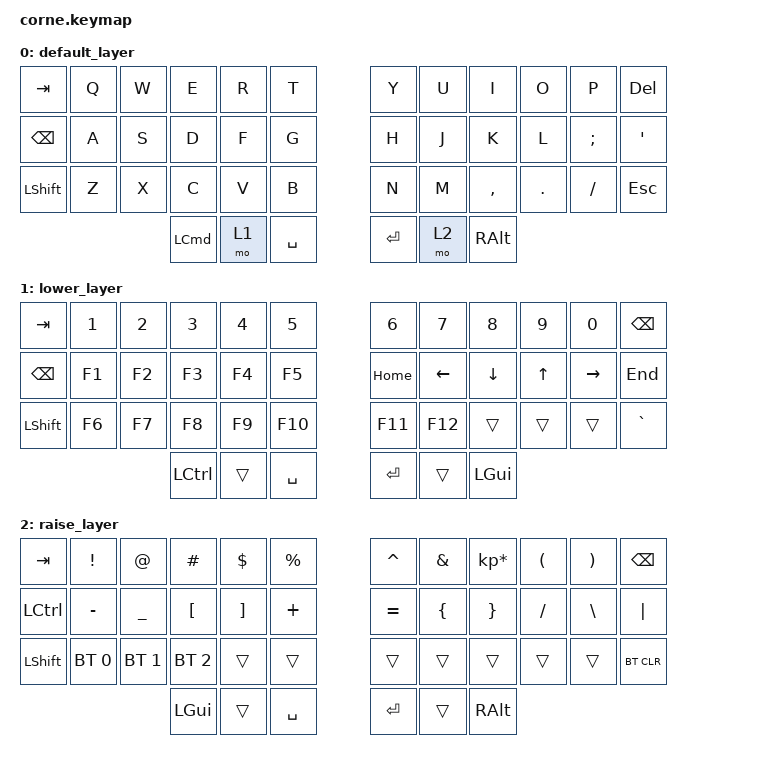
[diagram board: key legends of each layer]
/*
 * Copyright (c) 2020 The ZMK Contributors
 *
 * SPDX-License-Identifier: MIT
 */

#include <behaviors.dtsi>
#include <dt-bindings/zmk/keys.h>
#include <dt-bindings/zmk/bt.h>

/ {
        keymap {
                compatible = "zmk,keymap";

                default_layer {
// -----------------------------------------------------------------------------------------
// |  TAB |  Q  |  W  |  E  |  R  |  T  |   |  Y  |  U   |  I  |  O  |  P  | DEL  |
// | BSPC |  A  |  S  |  D  |  F  |  G  |   |  H  |  J   |  K  |  L  |  ;  |  '   |
// | SHFT |  Z  |  X  |  C  |  V  |  B  |   |  N  |  M   |  ,  |  .  |  /  | ESC  |
//                    |LCTRL| LWR | SPC |   | ENT | RSE  | ALT |
                        bindings = <
   &kp TAB   &kp Q &kp W &kp E &kp R &kp T   &kp Y &kp U  &kp I     &kp O   &kp P    &kp DEL
   &kp BSPC  &kp A &kp S &kp D &kp F &kp G   &kp H &kp J  &kp K     &kp L   &kp SEMI &kp SQT
   &kp LSHFT &kp Z &kp X &kp C &kp V &kp B   &kp N &kp M  &kp COMMA &kp DOT &kp FSLH &kp ESC
                  &kp LCMD &mo 1 &kp SPACE   &kp RET &mo 2 &kp RALT
                        >;
                };
                lower_layer {
// -----------------------------------------------------------------------------------------
// |  TAB |  1  |  2  |  3  |  4  |  5  |   |  6  |  7  |  8  |  9  |  0  | BKSP |
// | BSPC | F1  | F2  | F3  | F4  | F5  |   |HOME | LFT | DWN | UP  | RGT | END  |
// | SHFT | F6  | F7  | F8  | F9  | F10 |   | F11 | F12 |     |     |     | GRV  |
//                    |     |     | SPC |   | ENT |     | GUI |
                        bindings = <
   &kp TAB    &kp N1       &kp N2       &kp N3       &kp N4       &kp N5         &kp N6   &kp N7   &kp N8 &kp N9    &kp N0 &kp BSPC
   &kp BSPC   &kp F1       &kp F2       &kp F3       &kp F4       &kp F5         &kp HOME &kp LEFT &kp DOWN &kp UP  &kp RIGHT  &kp END
   &kp LSHFT  &kp F6       &kp F7       &kp F8       &kp F9       &kp F10        &kp F11  &kp F12  &trans   &trans  &trans     &kp GRAVE
                          	        &kp LCTRL       &trans       &kp SPACE      &kp RET  &trans   &kp LGUI
                        >;
                };

                raise_layer {
// -----------------------------------------------------------------------------------------
// |  TAB |  !  |  @  |  #  |  $  |  %  |   |  ^  |  &  |  *  |  (  |  )  | BKSP |
// | CTRL |  -  |  _  |  [  |  ]  |  +  |   |  =  |   { |  }  |  \  |  /  | "|"  |
// | SHFT |     |     |     |     |     |   |     |     |     |     |     |      |
//                    | GUI |     | SPC |   | ENT |     | ALT |
                        bindings = <
   &kp  TAB  &kp EXCL &kp AT &kp HASH &kp DLLR &kp PRCNT   &kp CARET &kp AMPS  &kp KP_MULTIPLY &kp LPAR &kp RPAR &kp BSPC
   &kp LCTRL &kp MINUS &kp UNDER &kp LBKT   &kp RBKT   &kp PLUS     &kp EQUAL  &kp LBRC        &kp RBRC        &kp FSLH &kp BSLH &kp PIPE
   &kp LSHFT &bt BT_SEL 0    &bt BT_SEL 1   &bt BT_SEL 2   &trans   &trans     &trans          &trans          &trans   &trans   &trans   &bt BT_CLR
                    	     &kp LGUI &trans   &kp SPACE   &kp RET   &trans    &kp RALT
                        >;
                };
        };
};
